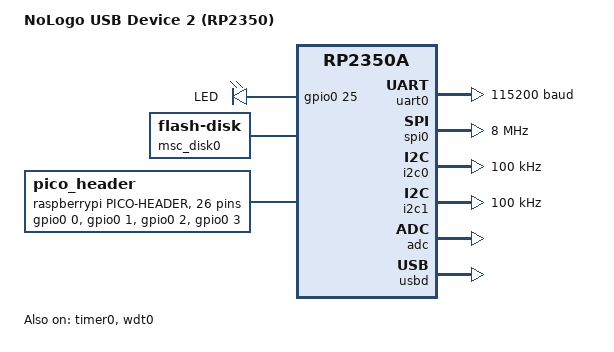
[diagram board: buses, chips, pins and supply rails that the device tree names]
/*
 * SPDX-License-Identifier: Apache-2.0
 *
 * NoLogo USB Device 2 board definition based on Raspberry Pi Pico 2 (RP2350A M33)
 * Includes:
 * - USB CDC ACM (RP2350 internal USB device controller)
 * - WS2812 LED strip on GPIO22 (PIO-based driver)
 * - USB HID keyboard support
 * - Flash-backed USB MSC storage
 */

/dts-v1/;

#include <freq.h>
#include <raspberrypi/rpi_pico/rp2350a.dtsi>
#include <raspberrypi/rpi_pico/m33.dtsi>
#include "nologo_usb2-pinctrl.dtsi"

#include <zephyr/dt-bindings/gpio/gpio.h>
#include <zephyr/dt-bindings/led/led.h>
#include <zephyr/dt-bindings/pwm/pwm.h>
#include <zephyr/dt-bindings/i2c/i2c.h>

/ {
	model = "NoLogo USB Device 2 (RP2350)";
	compatible = "nologo,nologo-usb2", "raspberrypi,rpi-pico2";

	chosen {
		zephyr,sram = &sram0;
		zephyr,flash = &flash0;
		zephyr,flash-controller = &qmi;
		zephyr,console = &uart0;
		zephyr,shell-uart = &uart0;
	};

	aliases {
		watchdog0 = &wdt0;
		led0 = &led0;
		pwm-led0 = &pwm_led0;
		led-strip = &ws2812;
	};

	/* On-board LED (GPIO25) */
	leds {
		compatible = "gpio-leds";

		led0: led_0 {
			gpios = <&gpio0 25 GPIO_ACTIVE_HIGH>;
			label = "LED";
		};
	};

	pwm_leds {
		compatible = "pwm-leds";
		status = "disabled";

		pwm_led0: pwm_led_0 {
			pwms = <&pwm 9 PWM_MSEC(20) PWM_POLARITY_NORMAL>;
			label = "PWM_LED";
		};
	};

	/* USB HID keyboard device (boot keyboard) */
	hid_dev_0: hid_dev_0 {
		compatible = "zephyr,hid-device";
		label = "HID0";
		protocol-code = "keyboard";
		/* Boot keyboard input report is 8 bytes */
		in-report-size = <8>;
		/*
		 * Polling period: 8ms is a good balance for keyboard.
		 * 1ms was too aggressive and caused "Endpoint busy" errors
		 * on RP2350 USB controller.
		 */
		in-polling-period-us = <8000>;
	};

	/* Flash-backed disk for USB MSC (uses part of onboard flash) */
	msc_disk0 {
		compatible = "zephyr,flash-disk";
		partition = <&storage_partition>;
		disk-name = "NAND";
		cache-size = <4096>;
	};

	pico_header: connector {
		compatible = "raspberrypi,pico-header";
		#gpio-cells = <2>;
		gpio-map-mask = <0xffffffff 0xffffffc0>;
		gpio-map-pass-thru = <0 0x3f>;
		gpio-map = <0 0 &gpio0 0 0>,	/* GP0 */
			   <1 0 &gpio0 1 0>,	/* GP1 */
			   <2 0 &gpio0 2 0>,	/* GP2 */
			   <3 0 &gpio0 3 0>,	/* GP3 */
			   <4 0 &gpio0 4 0>,	/* GP4 */
			   <5 0 &gpio0 5 0>,	/* GP5 */
			   <6 0 &gpio0 6 0>,	/* GP6 */
			   <7 0 &gpio0 7 0>,	/* GP7 */
			   <8 0 &gpio0 8 0>,	/* GP8 */
			   <9 0 &gpio0 9 0>,	/* GP9 */
			   <10 0 &gpio0 10 0>,	/* GP10 */
			   <11 0 &gpio0 11 0>,	/* GP11 */
			   <12 0 &gpio0 12 0>,	/* GP12 */
			   <13 0 &gpio0 13 0>,	/* GP13 */
			   <14 0 &gpio0 14 0>,	/* GP14 */
			   <15 0 &gpio0 15 0>,	/* GP15 */
			   <16 0 &gpio0 16 0>,	/* GP16 */
			   <17 0 &gpio0 17 0>,	/* GP17 */
			   <18 0 &gpio0 18 0>,	/* GP18 */
			   <19 0 &gpio0 19 0>,	/* GP19 */
			   <20 0 &gpio0 20 0>,	/* GP20 */
			   <21 0 &gpio0 21 0>,	/* GP21 */
			   <22 0 &gpio0 22 0>,	/* GP22 */
			   <26 0 &gpio0 26 0>,	/* GP26 */
			   <27 0 &gpio0 27 0>,	/* GP27 */
			   <28 0 &gpio0 28 0>;	/* GP28 */
	};
};

/*
 * Flash partitions:
 * - 4 MiB total flash
 * - Last 512 KiB reserved for USB MSC storage
 */
&flash0 {
	reg = <0x10000000 DT_SIZE_M(4)>;

	partitions {
		compatible = "fixed-partitions";
		#address-cells = <1>;
		#size-cells = <1>;

		/*
		 * Storage partition for USB MSC.
		 * 512 KiB at the end of 4 MiB flash (0x380000..0x3fffff).
		 */
		storage_partition: partition@380000 {
			label = "storage";
			reg = <0x00380000 0x00080000>;
		};
	};
};

&uart0 {
	current-speed = <115200>;
	status = "okay";
	pinctrl-0 = <&uart0_default>;
	pinctrl-names = "default";
};

gpio0_lo: &gpio0 {
	status = "okay";
};

&spi0 {
	clock-frequency = <DT_FREQ_M(8)>;
	pinctrl-0 = <&spi0_default>;
	pinctrl-names = "default";
};

&i2c0 {
	clock-frequency = <I2C_BITRATE_STANDARD>;
	pinctrl-0 = <&i2c0_default>;
	pinctrl-names = "default";
	status = "okay";
};

&i2c1 {
	clock-frequency = <I2C_BITRATE_STANDARD>;
	pinctrl-0 = <&i2c1_default>;
	pinctrl-names = "default";
	status = "okay";
};

&adc {
	pinctrl-0 = <&adc_default>;
	pinctrl-names = "default";
	status = "okay";
};

&pwm {
	pinctrl-0 = <&pwm_ch4b_default>;
	pinctrl-names = "default";
	divider-int-0 = <255>;
};

&timer0 {
	status = "okay";
};

&wdt0 {
	status = "okay";
};

/* USB device controller */
zephyr_udc0: &usbd {
	status = "okay";

	/* USB CDC ACM UART instance for serial demo */
	cdc_acm_uart0: cdc_acm_uart0 {
		compatible = "zephyr,cdc-acm-uart";
	};
};

/* PIO0 for WS2812 LED strip */
&pio0 {
	status = "okay";

	pio-ws2812 {
		compatible = "worldsemi,ws2812-rpi_pico-pio";
		status = "okay";
		pinctrl-0 = <&ws2812_pio0_default>;
		pinctrl-names = "default";
		bit-waveform = <3>, <3>, <4>;

		ws2812: ws2812 {
			status = "okay";
			gpios = <&gpio0 22 GPIO_ACTIVE_HIGH>;
			chain-length = <1>;
			/*
			 * Most WS2812/NeoPixel parts are GRB.
			 * Keep status LED semantics: green=pressure, blue=printk, red=fault.
			 */
			color-mapping = <LED_COLOR_ID_GREEN
					 LED_COLOR_ID_RED
					 LED_COLOR_ID_BLUE>;
			reset-delay = <280>;
			frequency = <DT_FREQ_K(800)>;
		};
	};
};

/* Convenient aliases */
pico_serial: &uart0 {};

